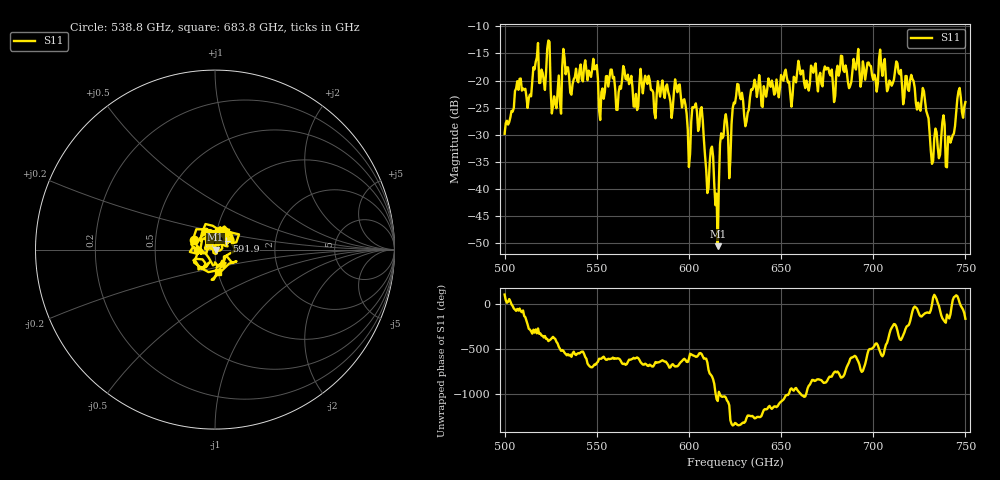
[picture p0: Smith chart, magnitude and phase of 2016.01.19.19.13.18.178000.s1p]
!Created with skrf (http://scikit-rf.org).
# GHz S RI R 50.0
!freq ReS11 ImS11
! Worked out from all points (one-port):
!   401 points, 500 GHz to 750 GHz, reference 50 ohm
!   lowest |S11| = -50.6 dB at 615.6 GHz (marker M1), VSWR 1.01, Z = 50.3 + j0.0143 ohm
!   |S11| at or under -10 dB: start of sweep to end of sweep
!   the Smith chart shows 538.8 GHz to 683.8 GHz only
!   S11 on the Smith chart (normalised r, x): 538.8 GHz: 0.79, +0.08; 591.9 GHz: 1.13, +0.11; 683.8 GHz: 1.00, -0.25
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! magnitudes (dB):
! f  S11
! 500 GHz  -29.8
! 507.5 GHz  -21.7
! 513.1 GHz  -23.2
! 516.9 GHz  -16.6
! 523.8 GHz  -12.6
! 526.9 GHz  -22.9
! 531.2 GHz  -17.6
! 538.8 GHz  -17.8
! 562.5 GHz  -21.1
! 591.9 GHz  -22.1
! 593.8 GHz  -22.2
! 600 GHz  -36.0
! 603.1 GHz  -24.8
! 606.9 GHz  -24.9
! 609.4 GHz  -36.5
! 612.5 GHz  -32.2
! 615.6 GHz  -50.6
! 618.1 GHz  -30.7
! 622.5 GHz  -34.4
! 625 GHz  -24.2
! 656.2 GHz  -22.7
! 683.8 GHz  -18.1
! 687.5 GHz  -21.0
! 718.8 GHz  -21.6
! 728.1 GHz  -23.9
! 731.9 GHz  -35.4
! 740.6 GHz  -30.4
! 750 GHz  -24.0
